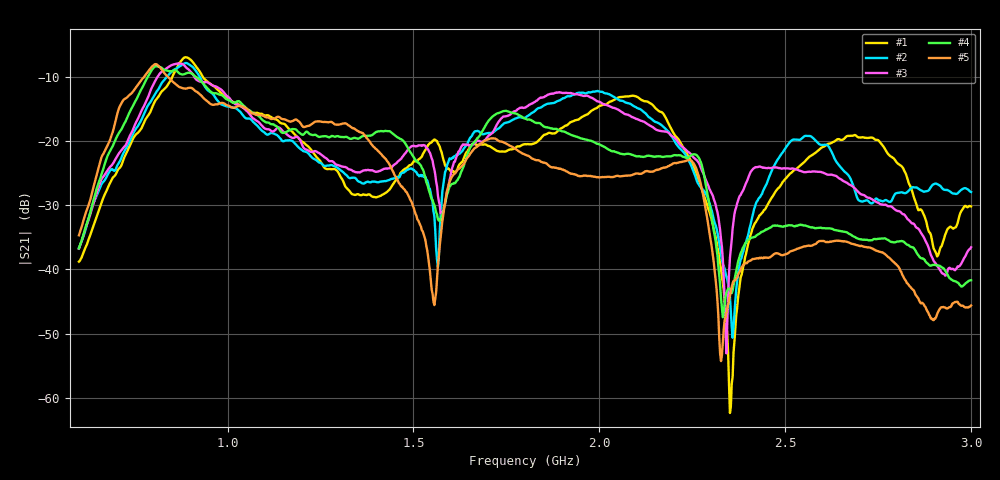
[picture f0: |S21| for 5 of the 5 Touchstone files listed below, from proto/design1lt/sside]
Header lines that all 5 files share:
#  HZ  S  RI  R  50.00
! Rohde & Schwarz ZVB8 2Ports - Version 2.81 - 1145.1010k08 SN: 100113
! Measurements: S11 S21 S12 S22
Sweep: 600 MHz to 3 GHz
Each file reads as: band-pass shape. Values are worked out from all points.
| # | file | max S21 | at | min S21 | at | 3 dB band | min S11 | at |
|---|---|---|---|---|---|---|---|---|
| 1 | lasse-side-0.3-pF.s2p | -6.98 dB | 885.9 MHz | -62.4 dB | 2.351 GHz | 852.3 MHz-931.5 MHz | -29.6 dB | 2.19 GHz |
| 2 | lasse-side-0.7-pF.s2p | -7.87 dB | 888.3 MHz | -50.7 dB | 2.359 GHz | 825.8 MHz-931.5 MHz | -33.2 dB | 2.183 GHz |
| 3 | lasse-side-1.1-pF.s2p | -7.94 dB | 866.7 MHz | -53.1 dB | 2.342 GHz | 804.2 MHz-945.9 MHz | -35.4 dB | 1.583 GHz |
| 4 | lasse-side-2.0-pF.s2p | -8.38 dB | 809 MHz | -47.5 dB | 2.332 GHz | 775.4 MHz-936.3 MHz | -23.0 dB | 1.585 GHz |
| 5 | lasse-side-2.7-pF.s2p | -8.05 dB | 806.6 MHz | -54.3 dB | 2.327 GHz | 763.4 MHz-857.1 MHz | -30.3 dB | 2.183 GHz |
